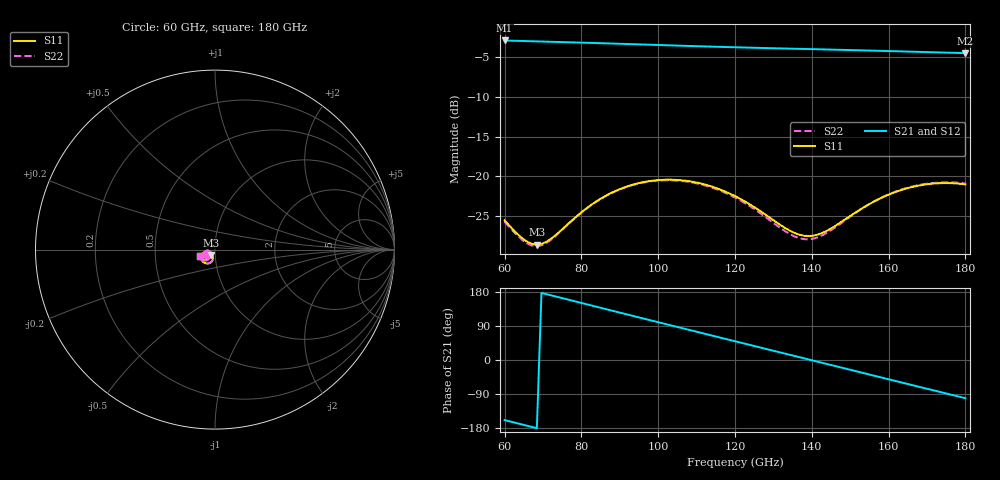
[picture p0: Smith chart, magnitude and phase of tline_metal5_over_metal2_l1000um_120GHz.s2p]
#  GHZ S DB R 50
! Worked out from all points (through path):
!   101 points, 60 GHz to 180 GHz, reference 50 ohm
!   highest |S21| = -2.96 dB at 60 GHz (marker M1); lowest = -4.5 dB at 180 GHz (marker M2)
!   group delay of S21, straight-line fit = 6.99 ps
!   lowest |S11| = -28.6 dB at 68.4 GHz (marker M3), VSWR 1.08, Z = 47.8 - j2.91 ohm
!   |S11| at or under -10 dB: start of sweep to end of sweep
!   |S22| runs from -28.7 to -20.5 dB; largest |S21 - S12| = 7.6e-14
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60  -25.51 -149.1  -2.96 -158.6  -2.96 -158.6  -25.67 -149.3
64.8  -27.84 -139.5  -3.03 -170.8  -3.03 -170.8  -28.05 -139.2
68.4  -28.55 -125.5  -3.08 -180.0  -3.08 -180.0  -28.74 -124.7
72  -27.85 -112.2  -3.12 170.9  -3.12 170.9  -27.97 -111.2
80.4  -24.35 -103.5  -3.24 149.5  -3.24 149.5  -24.39 -102.8
86.4  -22.41 -108.9  -3.32 134.2  -3.32 134.2  -22.45 -108.6
91.2  -21.37 -115.9  -3.39 122.0  -3.39 122.0  -21.41 -115.7
96  -20.73 -124.0  -3.47 109.9  -3.47 109.9  -20.78 -123.9
100.8  -20.44 -132.4  -3.54 97.7  -3.54 97.7  -20.50 -132.4
105.6  -20.47 -140.8  -3.61 85.6  -3.61 85.6  -20.54 -140.9
110.4  -20.81 -148.7  -3.68 73.6  -3.68 73.6  -20.91 -149.0
120  -22.47 -161.5  -3.81 49.5  -3.81 49.5  -22.64 -161.9
126  -24.16 -165.1  -3.89 34.4  -3.89 34.4  -24.42 -165.5
130.8  -25.75 -163.1  -3.94 22.4  -3.94 22.4  -26.11 -163.2
135.6  -27.10 -154.9  -4.00 10.4  -4.00 10.4  -27.54 -154.0
140.4  -27.42 -142.0  -4.05 -1.7  -4.05 -1.7  -27.80 -139.8
144  -26.79 -133.3  -4.09 -10.7  -4.09 -10.7  -27.05 -130.6
150  -24.96 -126.3  -4.16 -25.8  -4.16 -25.8  -25.04 -123.7
160.8  -22.13 -131.4  -4.30 -52.9  -4.30 -52.9  -22.09 -129.5
170.4  -20.96 -143.5  -4.42 -76.9  -4.42 -76.9  -20.89 -141.9
175.2  -20.83 -150.2  -4.48 -88.8  -4.48 -88.8  -20.74 -148.7
180  -21.00 -156.8  -4.54 -100.8  -4.54 -100.8  -20.89 -155.4
